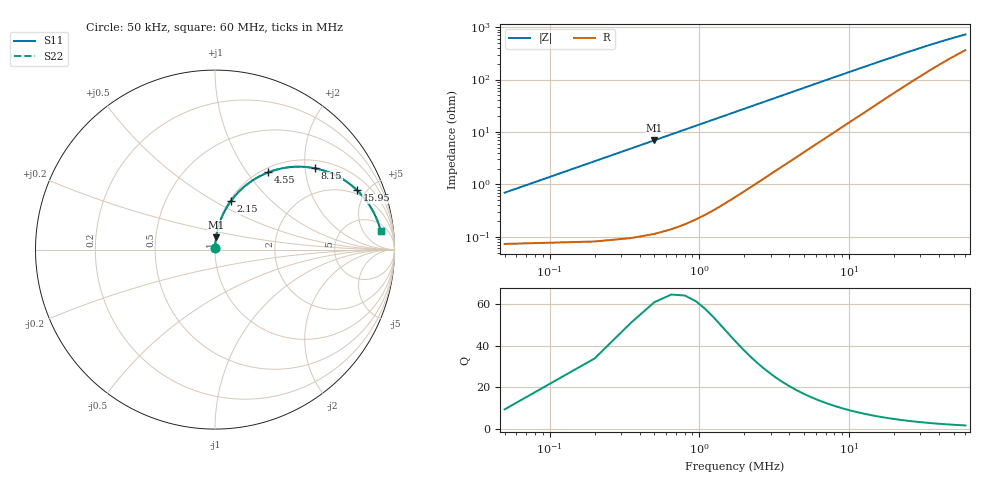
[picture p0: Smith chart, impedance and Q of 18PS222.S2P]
! Coilcraft 1812PS-222 Power Chip Inductor
! 1 October 2002
# MHZ S MA R 50
!Freq  MagS11  AngS11  MagS21  AngS21  MagS12  AngS12  MagS22  AngS22
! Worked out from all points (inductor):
!   401 points, 50 kHz to 60 MHz, reference 50 ohm
!   read as one part in series: L = 2.2 uH near 350 kHz
!   highest Q = 57.5 at 500 kHz (marker M1), where L = 2.2 uH
!   S11 on the Smith chart (normalised r, x): 50 kHz: 1.00, +0.01; 2.15 MHz: 1.02, +0.60; 4.55 MHz: 1.07, +1.27; 8.15 MHz: 1.21, +2.26; 15.95 MHz: 1.73, +4.33; 60 MHz: 8, +13
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0.05  0.006945 83.6  0.9992 -0.4  0.9992 -0.4  0.006945 83.6
0.2  0.02763 86.7  0.9988 -1.6  0.9988 -1.6  0.02763 86.7
0.35  0.04833 86.1  0.9979 -2.8  0.9979 -2.8  0.04833 86.1
0.5  0.06899 85.1  0.9965 -4.0  0.9965 -4.0  0.06899 85.1
0.65  0.08959 84.0  0.9946 -5.1  0.9946 -5.1  0.08959 84.0
0.8  0.1101 82.8  0.9922 -6.3  0.9922 -6.3  0.1101 82.8
1.1  0.1506 80.3  0.986 -8.7  0.986 -8.7  0.1506 80.3
1.55  0.2098 76.7  0.9732 -12.1  0.9732 -12.1  0.2098 76.7
2.15  0.2846 71.9  0.9507 -16.5  0.9507 -16.5  0.2846 71.9
2.6  0.3369 68.4  0.9304 -19.7  0.9304 -19.7  0.3369 68.4
3.2  0.4012 64.1  0.9001 -23.6  0.9001 -23.6  0.4012 64.1
4.55  0.5225 55.4  0.8247 -31.5  0.8247 -31.5  0.5225 55.4
6.2  0.6312 46.9  0.7317 -39.0  0.7317 -39.0  0.6312 46.9
8.15  0.7178 39.1  0.6339 -45.6  0.6339 -45.6  0.7178 39.1
10.1  0.7744 33.3  0.5529 -50.3  0.5529 -50.3  0.7744 33.3
12.8  0.8238 27.5  0.4656 -54.7  0.4656 -54.7  0.8238 27.5
15.95  0.8579 22.7  0.3909 -57.8  0.3909 -57.8  0.8579 22.7
20.15  0.8837 18.3  0.3211 -59.9  0.3211 -59.9  0.8837 18.3
30.05  0.9105 12.5  0.2269 -60.6  0.2269 -60.6  0.9105 12.5
40.1  0.9211 9.5  0.1771 -58.9  0.1771 -58.9  0.9211 9.5
50.15  0.9264 7.6  0.1474 -56.3  0.1474 -56.3  0.9264 7.6
60  0.9294 6.4  0.1284 -53.5  0.1284 -53.5  0.9294 6.4
